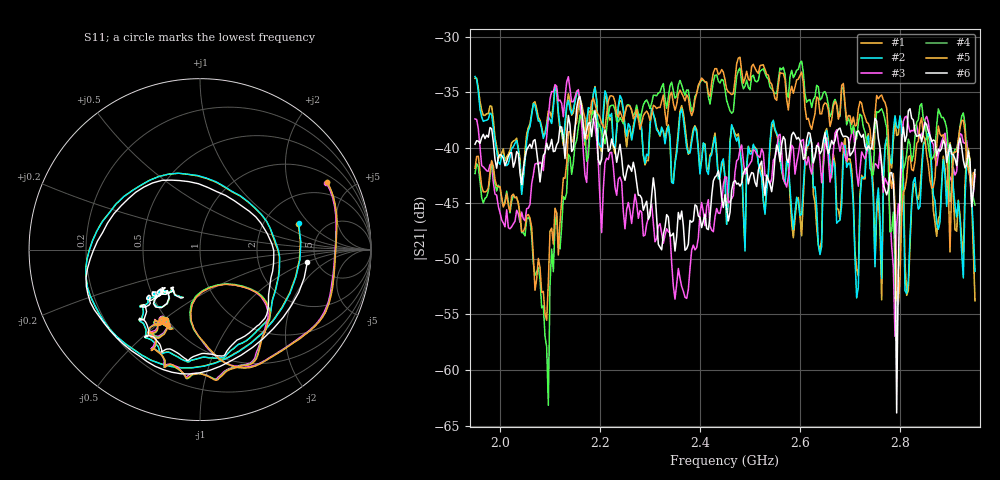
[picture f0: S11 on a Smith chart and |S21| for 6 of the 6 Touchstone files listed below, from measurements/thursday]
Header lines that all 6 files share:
!Agilent N9923A: A.07.32
!Model: N9923A
!Serial: MY52412257
!GPS Latitude:
!GPS Longitude:
!GPS TimeStamp: 0001-01-01 00:00:00Z
!GPS Seconds Since Last Read: 0
!Correction: S11(ON U)S21(ON U)S12(ON U)S22(ON U)
!S2P File: Measurements:S11,S21,S12,S22:
# Hz S DB R 50
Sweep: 1.95 GHz to 2.95 GHz
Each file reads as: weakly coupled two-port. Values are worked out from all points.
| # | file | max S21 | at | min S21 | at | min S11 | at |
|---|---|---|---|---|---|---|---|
| 1 | AutoSave35.s2p | -33.74 dB | 1.953 GHz | -53.8 dB | 2.95 GHz | -11.0 dB | 2.91 GHz |
| 2 | AutoSave36.s2p | -33.58 dB | 1.95 GHz | -53.5 dB | 2.713 GHz | -11.0 dB | 2.91 GHz |
| 3 | AutoSave39.s2p | -33.60 dB | 2.137 GHz | -57.0 dB | 2.79 GHz | -12.7 dB | 2.11 GHz |
| 4 | AutoSave310.s2p | -32.19 dB | 2.603 GHz | -63.2 dB | 2.097 GHz | -12.9 dB | 2.11 GHz |
| 5 | AutoSave311.s2p | -31.85 dB | 2.48 GHz | -55.5 dB | 2.093 GHz | -12.7 dB | 2.11 GHz |
| 6 | AutoSave314.s2p | -35.38 dB | 2.16 GHz | -63.9 dB | 2.793 GHz | -11.4 dB | 2.903 GHz |
